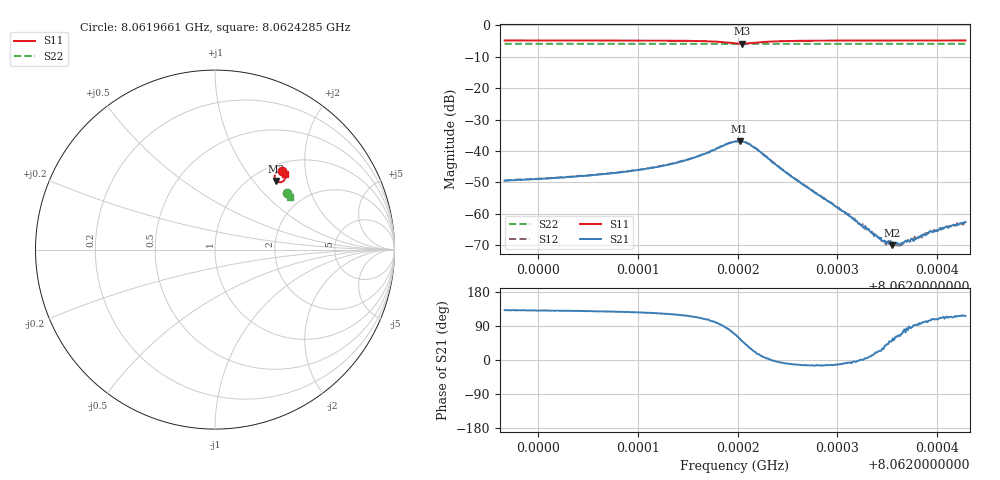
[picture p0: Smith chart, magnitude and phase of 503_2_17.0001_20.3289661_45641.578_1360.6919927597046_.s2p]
#  HZ  S  RI  R  50.00
! Rohde & Schwarz Vector Network Analyzer
! Rohde-Schwarz,ZNB20-2Port,1311601062101988,3.16
! Created: UTC 3/20/2024, 11:14:40 PM
! freq[Hz]  re:S11  im:S11  re:S21  im:S21  re:S12  im:S12  re:S22  im:S22
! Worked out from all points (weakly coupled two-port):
!   401 points, 8.0619661 GHz to 8.0624285 GHz, reference 50 ohm
!   highest |S21| = -36.88 dB at 8.062202 GHz (marker M1); lowest = -70.0 dB at 8.0623546 GHz (marker M2)
!   lowest |S11| = -5.8 dB at 8.0622043 GHz (marker M3), VSWR 3.11, Z = 63.6 + j66.1 ohm
!   |S11| at or under -10 dB: nowhere
!   |S22| runs from -5.9 to -5.8 dB; largest |S21 - S12| = 0.001
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8.06196614e9  0.3747 0.4376  -0.00225 0.00251  -0.0021 0.0027  0.4026 0.3134
8.06204359e9  0.3807 0.4317  -0.00255 0.0031  -0.00234 0.00327  0.4054 0.3093
8.06208867e9  0.385 0.4266  -0.00281 0.00379  -0.00262 0.00397  0.4071 0.3072
8.06212104e9  0.3886 0.4209  -0.00308 0.00475  -0.00279 0.00498  0.4083 0.3051
8.06215688e9  0.3923 0.4083  -0.00319 0.00724  -0.00279 0.0075  0.4093 0.3028
8.06219734e9  0.3592 0.3754  0.00537 0.0131  0.00622 0.0128  0.4089 0.3
8.06220196e9  0.3476 0.379  0.00782 0.012  0.00874 0.0116  0.4086 0.3002
8.06220427e9  0.3423 0.3827  0.00917 0.011  0.00962 0.0105  0.4085 0.3002
8.06221699e9  0.3326 0.4117  0.0105 0.00422  0.0109 0.00368  0.4088 0.301
8.06224358e9  0.3552 0.4349  0.00517 -0.00062  0.00521 -0.000927  0.4111 0.3004
8.06227479e9  0.3701 0.4348  0.00226 -0.000552  0.00226 -0.000736  0.4127 0.2988
8.06231062e9  0.3781 0.432  0.000976 -0.000119  0.000933 -0.000222  0.4142 0.2968
8.0623245e9  0.3802 0.431  0.000662 8.8e-06  0.00065 -1.29e-05  0.4147 0.296
8.06233028e9  0.3811 0.4304  0.000572 5.64e-05  0.000555 3.39e-05  0.4151 0.2958
8.0623349e9  0.3817 0.4301  0.000478 0.000106  0.000515 7.12e-05  0.4152 0.2956
8.06234646e9  0.3829 0.4289  0.000316 0.000177  0.000352 0.000181  0.4156 0.2948
8.06235224e9  0.3836 0.4287  0.00023 0.000268  0.000251 0.000216  0.416 0.2946
8.06235455e9  0.3839 0.4285  0.000209 0.000239  0.000219 0.000213  0.4159 0.2945
8.0623638e9  0.3849 0.4279  0.00013 0.000311  0.000151 0.000277  0.4162 0.294
8.06236842e9  0.3854 0.4275  0.000112 0.000356  6.36e-05 0.000343  0.4165 0.2937
8.06239039e9  0.3874 0.426  -8.29e-05 0.000475  -7.52e-05 0.000479  0.4172 0.2927
8.06242854e9  0.3905 0.4237  -0.000326 0.000665  -0.000322 0.000673  0.4185 0.2906
